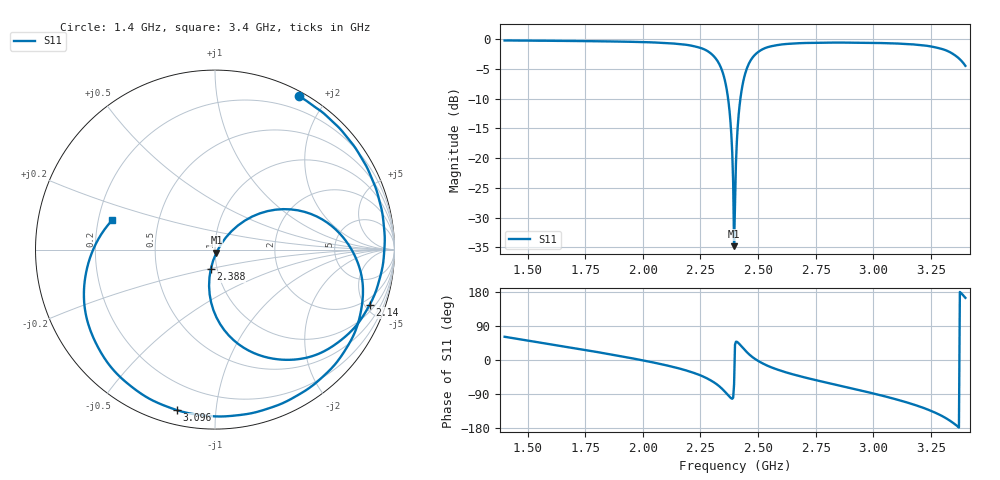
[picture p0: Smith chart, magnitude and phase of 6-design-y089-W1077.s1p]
#  Hz  S  RI  R  50
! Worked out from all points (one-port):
!   501 points, 1.4 GHz to 3.4 GHz, reference 50 ohm
!   lowest |S11| = -34.8 dB at 2.396 GHz (marker M1), VSWR 1.04, Z = 50.8 - j1.67 ohm
!   |S11| at or under -10 dB: 2.37 GHz to 2.423 GHz (53.56 MHz wide, 2.23 % of centre)
!   S11 on the Smith chart (normalised r, x): 1.4 GHz: 0.05, +1.69; 2.14 GHz: 1.43, -5.41; 2.388 GHz: 0.93, -0.20; 3.096 GHz: 0.07, -0.79; 3.4 GHz: 0.26, +0.13
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1.4e9  0.4671 0.8534
1.652e9  0.7782 0.5721
1.9e9  0.9366 0.1731
2.14e9  0.8619 -0.3074
2.152e9  0.8474 -0.3332
2.256e9  0.6204 -0.5596
2.304e9  0.3961 -0.6141
2.336e9  0.1877 -0.5626
2.372e9  -0.0216 -0.2944
2.38e9  -0.033 -0.203
2.388e9  -0.0234 -0.1083
2.396e9  0.00789 -0.0164
2.4e9  0.0314 0.0265
2.404e9  0.0596 0.0663
2.412e9  0.128 0.1346
2.42e9  0.2082 0.1846
2.436e9  0.3802 0.2255
2.456e9  0.5674 0.1844
2.488e9  0.7419 0.0304
2.528e9  0.8197 -0.1654
2.652e9  0.7231 -0.5637
2.9e9  0.2572 -0.8979
3.096e9  -0.2114 -0.8946
3.152e9  -0.3556 -0.8363
3.24e9  -0.58 -0.6542
3.316e9  -0.7206 -0.3563
3.36e9  -0.7119 -0.0994
3.4e9  -0.5729 0.1641
